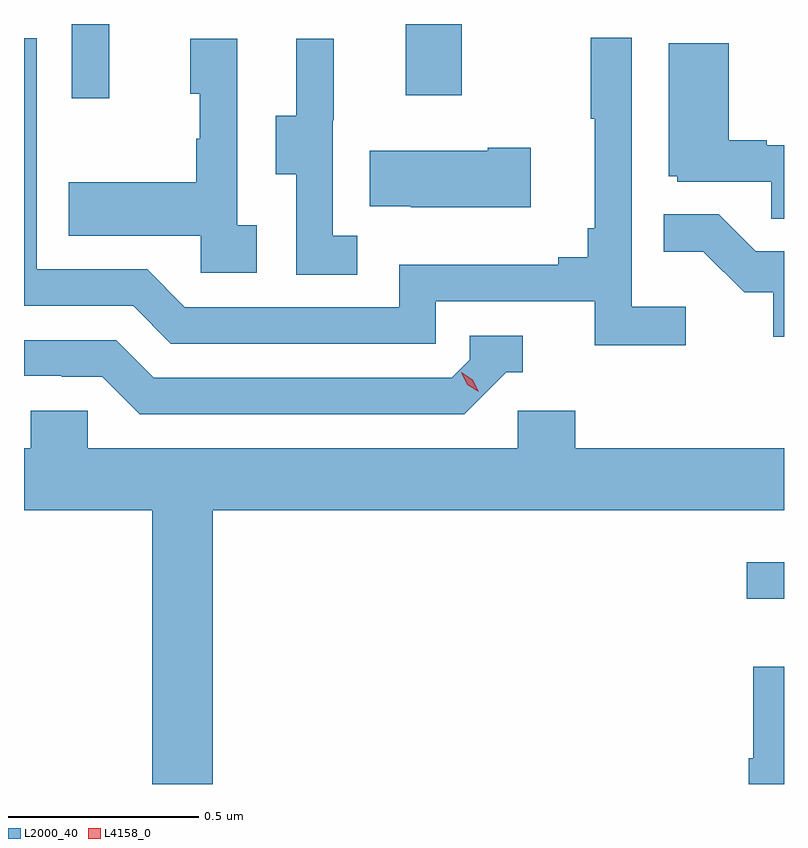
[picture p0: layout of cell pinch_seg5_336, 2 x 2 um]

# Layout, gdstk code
import gdstk
lib = gdstk.Library(unit=1e-6, precision=1e-09)
def R(c, l, rs):  # rectangles x0, y0, x1, y1
    for r in rs: c.add(gdstk.rectangle(r[:2], r[2:], *l))
def P(c, l, *ps):  # polygons
    for p in ps: c.add(gdstk.Polygon(p, *l))
L2000_40 = (2000, 40)
L4158_0 = (4158, 0)

pinch_seg5_336 = lib.new_cell('pinch_seg5_336')
R(pinch_seg5_336, L2000_40, [(947.211,879.171,947.309,879.268), (945.435,880.488,945.533,880.684), (946.313,880.497,946.461,880.684)])
P(pinch_seg5_336, L2000_40, [(947.05,879.94),(946.908,879.94),(946.908,880.648),(946.8,880.648),(946.8,880.435),(946.811,880.435),(946.811,880.147),(946.792,880.147),(946.792,880.07),(946.715,880.07),(946.715,880.051),(946.296,880.051),(946.296,879.939),(945.732,879.939),(945.633,880.038),(945.342,880.038),(945.342,880.647),(945.309,880.647),(945.309,879.942),(945.596,879.942),(945.695,879.843),(946.392,879.843),(946.392,879.954),(946.811,879.954),(946.811,879.838),(947.05,879.838)],
  [(946.186,880.127),(946.122,880.127),(946.122,880.431),(946.124,880.431),(946.124,880.645),(946.025,880.645),(946.025,880.443),(945.971,880.443),(945.971,880.288),(946.026,880.288),(946.026,880.024),(946.186,880.024)],
  [(945.922,880.154),(945.87,880.154),(945.87,880.645),(945.746,880.645),(945.746,880.5),(945.772,880.5),(945.772,880.382),(945.762,880.382),(945.762,880.267),(945.427,880.267),(945.427,880.127),(945.774,880.127),(945.774,880.029),(945.922,880.029)],
  [(947.309,880.365),(947.264,880.365),(947.264,880.378),(947.164,880.378),(947.164,880.633),(947.006,880.633),(947.006,880.284),(947.028,880.284),(947.028,880.269),(947.275,880.269),(947.275,880.171),(947.309,880.171)],
  [(946.642,880.359),(946.529,880.359),(946.529,880.351),(946.219,880.351),(946.219,880.205),(946.327,880.205),(946.327,880.202),(946.642,880.202)],
  [(947.309,880.086),(947.235,880.086),(947.137,880.184),(946.993,880.184),(946.993,880.085),(947.097,880.085),(947.204,879.978),(947.281,879.978),(947.281,879.861),(947.309,879.861)],
  [(946.578,879.768),(946.621,879.768),(946.621,879.864),(946.482,879.864),(946.482,879.801),(946.434,879.753),(945.651,879.753),(945.552,879.852),(945.309,879.852),(945.309,879.759),(945.408,879.759),(945.408,879.756),(945.515,879.756),(945.614,879.657),(946.467,879.657)],
  [(945.806,879.404),(947.309,879.404),(947.309,879.568),(946.76,879.568),(946.76,879.666),(946.608,879.666),(946.608,879.568),(945.477,879.568),(945.477,879.666),(945.327,879.666),(945.327,879.568),(945.309,879.568),(945.309,879.404),(945.646,879.404),(945.646,878.684),(945.806,878.684)],
  [(947.309,878.992),(947.228,878.992),(947.228,878.752),(947.216,878.752),(947.216,878.684),(947.309,878.684)])
P(pinch_seg5_336, L4158_0, [(946.506,879.716),(946.475,879.735),(946.459,879.768),(946.459,879.768),(946.459,879.768),(946.49,879.748),(946.506,879.716),(946.506,879.716)])

lib.write_gds('pinch_seg5_336.gds')
